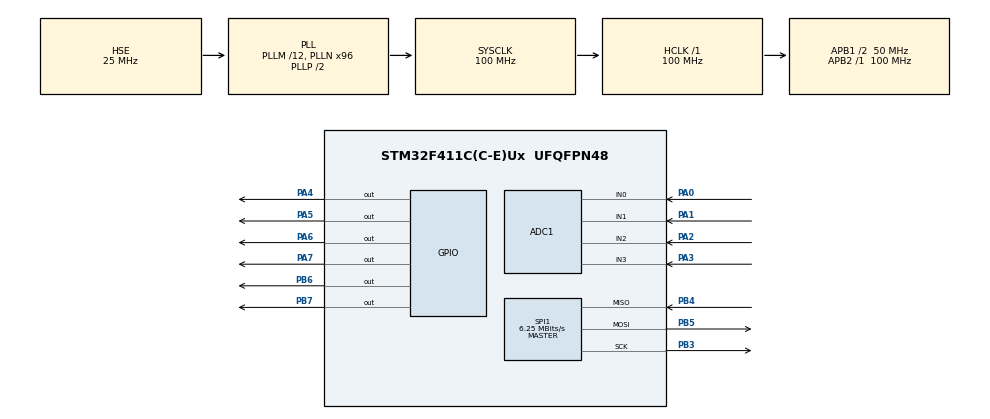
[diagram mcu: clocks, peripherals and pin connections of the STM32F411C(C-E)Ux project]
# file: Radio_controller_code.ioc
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ADC1.Channel-3\#ChannelRegularConversion=ADC_CHANNEL_0
ADC1.Channel-4\#ChannelRegularConversion=ADC_CHANNEL_1
ADC1.Channel-5\#ChannelRegularConversion=ADC_CHANNEL_2
ADC1.Channel-6\#ChannelRegularConversion=ADC_CHANNEL_3
ADC1.ClockPrescaler=ADC_CLOCK_SYNC_PCLK_DIV4
ADC1.ContinuousConvMode=ENABLE
ADC1.DMAContinuousRequests=ENABLE
ADC1.EOCSelection=ADC_EOC_SINGLE_CONV
ADC1.ExternalTrigConv=ADC_EXTERNALTRIGCONV_T2_TRGO
ADC1.NbrOfConversion=4
ADC1.NbrOfConversionFlag=1
ADC1.Rank-3\#ChannelRegularConversion=1
ADC1.Rank-4\#ChannelRegularConversion=2
ADC1.Rank-5\#ChannelRegularConversion=3
ADC1.Rank-6\#ChannelRegularConversion=4
ADC1.SamplingTime-3\#ChannelRegularConversion=ADC_SAMPLETIME_56CYCLES
ADC1.SamplingTime-4\#ChannelRegularConversion=ADC_SAMPLETIME_56CYCLES
ADC1.SamplingTime-5\#ChannelRegularConversion=ADC_SAMPLETIME_56CYCLES
ADC1.SamplingTime-6\#ChannelRegularConversion=ADC_SAMPLETIME_56CYCLES
ADC1.ScanConvMode=ENABLE
ADC1.master=1
Dma.ADC1.0.Direction=DMA_PERIPH_TO_MEMORY
Dma.ADC1.0.FIFOMode=DMA_FIFOMODE_DISABLE
Dma.ADC1.0.Instance=DMA2_Stream0
Dma.ADC1.0.MemDataAlignment=DMA_MDATAALIGN_HALFWORD
Dma.ADC1.0.MemInc=DMA_MINC_ENABLE
Dma.ADC1.0.Mode=DMA_CIRCULAR
Dma.ADC1.0.PeriphDataAlignment=DMA_PDATAALIGN_HALFWORD
Dma.ADC1.0.PeriphInc=DMA_PINC_DISABLE
Dma.ADC1.0.Priority=DMA_PRIORITY_LOW
Dma.Request0=ADC1
Mcu.Family=STM32F4
Mcu.Name=STM32F411C(C-E)Ux
Mcu.Package=UFQFPN48
NVIC.ADC_IRQn=true\:0\:0\:false\:false\:true\:true\:true
NVIC.DMA2_Stream0_IRQn=true\:0\:0\:false\:false\:true\:false\:true
NVIC.FPU_IRQn=true\:0\:0\:false\:false\:true\:true\:false
NVIC.PriorityGroup=NVIC_PRIORITYGROUP_4
NVIC.TIM2_IRQn=true\:0\:0\:false\:false\:true\:true\:true
PA0-WKUP.Signal=ADCx_IN0
PA1.Signal=ADCx_IN1
PA13.Mode=Serial_Wire
PA13.Signal=SYS_JTMS-SWDIO
PA14.Mode=Serial_Wire
PA14.Signal=SYS_JTCK-SWCLK
PA2.Signal=ADCx_IN2
PA3.Signal=ADCx_IN3
PA4.Signal=GPIO_Output
PA5.Signal=GPIO_Output
PA6.Signal=GPIO_Output
PA7.Signal=GPIO_Output
PB3.Mode=Full_Duplex_Master
PB3.Signal=SPI1_SCK
PB4.Mode=Full_Duplex_Master
PB4.Signal=SPI1_MISO
PB5.Mode=Full_Duplex_Master
PB5.Signal=SPI1_MOSI
PB6.Signal=GPIO_Output
PB7.Signal=GPIO_Output
PH0\ -\ OSC_IN.Mode=HSE-External-Oscillator
PH0\ -\ OSC_IN.Signal=RCC_OSC_IN
PH1\ -\ OSC_OUT.Mode=HSE-External-Oscillator
PH1\ -\ OSC_OUT.Signal=RCC_OSC_OUT
ProjectManager.HeapSize=0x200
ProjectManager.StackSize=0x400
ProjectManager.TargetToolchain=STM32CubeIDE
RCC.48MHZClocksFreq_Value=50000000
RCC.AHBFreq_Value=100000000
RCC.APB1CLKDivider=RCC_HCLK_DIV2
RCC.APB1Freq_Value=50000000
RCC.APB1TimFreq_Value=100000000
RCC.APB2Freq_Value=100000000
RCC.APB2TimFreq_Value=100000000
RCC.CortexFreq_Value=100000000
RCC.HCLKFreq_Value=100000000
RCC.HSE_VALUE=25000000
RCC.HSI_VALUE=16000000
RCC.LSE_VALUE=32768
RCC.PLLM=12
RCC.PLLN=96
RCC.PLLSourceVirtual=RCC_PLLSOURCE_HSE
RCC.SYSCLKFreq_VALUE=100000000
RCC.SYSCLKSource=RCC_SYSCLKSOURCE_PLLCLK
RCC.VCOOutputFreq_Value=200000000
SH.ADCx_IN0.0=ADC1_IN0,IN0
SH.ADCx_IN1.0=ADC1_IN1,IN1
SH.ADCx_IN2.0=ADC1_IN2,IN2
SH.ADCx_IN3.0=ADC1_IN3,IN3
SPI1.BaudRatePrescaler=SPI_BAUDRATEPRESCALER_16
SPI1.CalculateBaudRate=6.25 MBits/s
SPI1.Direction=SPI_DIRECTION_2LINES
SPI1.Mode=SPI_MODE_MASTER
SPI1.VirtualType=VM_MASTER
TIM2.AutoReloadPreload=TIM_AUTORELOAD_PRELOAD_ENABLE
TIM2.Channel-Output\ Compare1\ No\ Output=TIM_CHANNEL_1
TIM2.Period=2000-1
TIM2.Prescaler=1000-1
TIM2.TIM_MasterOutputTrigger=TIM_TRGO_UPDATE
VP_TIM2_VS_ClockSourceINT.Mode=Internal
VP_TIM2_VS_no_output1.Mode=Output Compare1 No Output
board=custom

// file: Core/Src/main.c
/* USER CODE BEGIN Header */
/**
  ******************************************************************************
  * @file           : main.c
  * @brief          : Main program body
  ******************************************************************************
  * @attention
  *
  * <h2><center>&copy; Copyright (c) 2021 STMicroelectronics.
  * All rights reserved.</center></h2>
  *
  * This software component is licensed by ST under BSD 3-Clause license,
  * the "License"; You may not use this file except in compliance with the
  * License. You may obtain a copy of the License at:
  *                        opensource.org/licenses/BSD-3-Clause
  *
  ******************************************************************************
  */
/* USER CODE END Header */
#include "main.h"
#include "adc.h"
#include "dma.h"
#include "spi.h"
#include "tim.h"
#include "gpio.h"

/* USER CODE BEGIN PV */

volatile uint16_t adc_data[4] = {0};

char msg[50];
int msg_len;

/* USER CODE END PV */

void SystemClock_Config(void);

/* USER CODE BEGIN 0 */
void HAL_ADC_ConvCpltCallback(ADC_HandleTypeDef* hadc){

}
/* USER CODE END 0 */

int main(void)
{

  /* MCU Configuration--------------------------------------------------------*/

  /* Reset of all peripherals, Initializes the Flash interface and the Systick. */
  HAL_Init();

  /* Configure the system clock */
  SystemClock_Config();

  /* Initialize all configured peripherals */
  MX_GPIO_Init();
  MX_ADC1_Init();
  MX_DMA_Init();
  MX_TIM2_Init();
  MX_SPI1_Init();
  /* USER CODE BEGIN 2 */

  //MX_GPIO_Init();
  //MX_DMA_Init();
  //MX_ADC1_Init();
  //MX_TIM2_Init();
  // INITIALIZE THE DMA FIRST AND THEN DAC LATER - CUBE MX DOES IT INCORRECTLY

  HAL_ADC_Start_DMA(&hadc1, (uint32_t*)adc_data, 4);
  HAL_TIM_Base_Start(&htim2);

  /* USER CODE END 2 */

  /* Infinite loop */
  /* USER CODE BEGIN WHILE */
  while (1)
  {

	  //HAL_ADC_Start(&hadc1);
	  //HAL_ADC_PollForConversion(&hadc1, 50);
	  //VR[0] = HAL_ADC_GetValue(&hadc1); // max 4095

	  if(adc_data[0]>4000 || adc_data[2]>4000){
		  HAL_GPIO_WritePin(GPIOA, GPIO_PIN_4, GPIO_PIN_SET);
	  }else{
		  HAL_GPIO_WritePin(GPIOA, GPIO_PIN_4, GPIO_PIN_RESET);
	  }

	  if(adc_data[0]<800 || adc_data[2]<800){
		  HAL_GPIO_WritePin(GPIOA, GPIO_PIN_5, GPIO_PIN_SET);
	  }else{
		  HAL_GPIO_WritePin(GPIOA, GPIO_PIN_5, GPIO_PIN_RESET);
	  }

	  if(adc_data[1]>4000 || adc_data[3]>4000){
		  HAL_GPIO_WritePin(GPIOA, GPIO_PIN_6, GPIO_PIN_SET);
	  }else{
		  HAL_GPIO_WritePin(GPIOA, GPIO_PIN_6, GPIO_PIN_RESET);
	  }

	  if(adc_data[1]<800 || adc_data[3]<800){
		  HAL_GPIO_WritePin(GPIOA, GPIO_PIN_7, GPIO_PIN_SET);
	  }else{
		  HAL_GPIO_WritePin(GPIOA, GPIO_PIN_7, GPIO_PIN_RESET);
	  }

    /* USER CODE END WHILE */

  }
}

void SystemClock_Config(void)
{
  RCC_OscInitTypeDef RCC_OscInitStruct = {0};
  RCC_ClkInitTypeDef RCC_ClkInitStruct = {0};

  /** Configure the main internal regulator output voltage
  */
  __HAL_RCC_PWR_CLK_ENABLE();
  __HAL_PWR_VOLTAGESCALING_CONFIG(PWR_REGULATOR_VOLTAGE_SCALE1);
  /** Initializes the RCC Oscillators according to the specified parameters
  * in the RCC_OscInitTypeDef structure.
  */
  RCC_OscInitStruct.OscillatorType = RCC_OSCILLATORTYPE_HSE;
  RCC_OscInitStruct.HSEState = RCC_HSE_ON;
  RCC_OscInitStruct.PLL.PLLState = RCC_PLL_ON;
  RCC_OscInitStruct.PLL.PLLSource = RCC_PLLSOURCE_HSE;
  RCC_OscInitStruct.PLL.PLLM = 12;
  RCC_OscInitStruct.PLL.PLLN = 96;
  RCC_OscInitStruct.PLL.PLLP = RCC_PLLP_DIV2;
  RCC_OscInitStruct.PLL.PLLQ = 4;
  if (HAL_RCC_OscConfig(&RCC_OscInitStruct) != HAL_OK)
  {
    Error_Handler();
  }
  /** Initializes the CPU, AHB and APB buses clocks
  */
  RCC_ClkInitStruct.ClockType = RCC_CLOCKTYPE_HCLK|RCC_CLOCKTYPE_SYSCLK
                              |RCC_CLOCKTYPE_PCLK1|RCC_CLOCKTYPE_PCLK2;
  RCC_ClkInitStruct.SYSCLKSource = RCC_SYSCLKSOURCE_PLLCLK;
  RCC_ClkInitStruct.AHBCLKDivider = RCC_SYSCLK_DIV1;
  RCC_ClkInitStruct.APB1CLKDivider = RCC_HCLK_DIV2;
  RCC_ClkInitStruct.APB2CLKDivider = RCC_HCLK_DIV1;

  if (HAL_RCC_ClockConfig(&RCC_ClkInitStruct, FLASH_LATENCY_3) != HAL_OK)
  {
    Error_Handler();
  }
}

void Error_Handler(void)
{
  __disable_irq();
  while (1)
  {
  }
}

/************************ (C) COPYRIGHT STMicroelectronics *****END OF FILE****/
